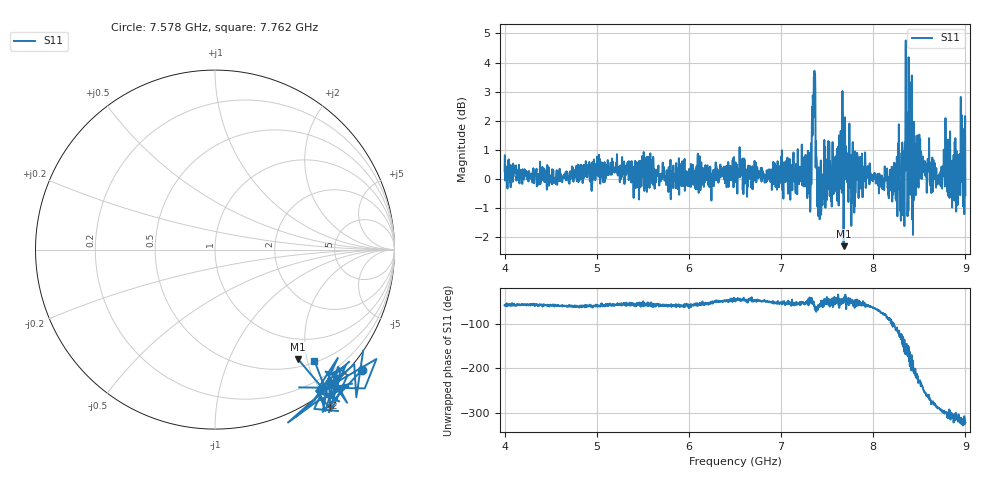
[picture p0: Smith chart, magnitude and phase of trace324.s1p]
! Created with skrf 1.8.0 (http://scikit-rf.org).
# Hz S RI R 50.0
!freq ReS11 ImS11
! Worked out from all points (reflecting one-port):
!   1601 points, 4 GHz to 9 GHz, reference 50 ohm
!   lowest |S11| = -2.3 dB at 7.678 GHz (marker M1), VSWR 7.55, Z = 31.2 - j92.3 ohm
!   phase of S11 starts at -58 deg and turns -265 deg over the sweep
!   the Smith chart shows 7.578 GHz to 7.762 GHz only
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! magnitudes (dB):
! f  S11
! 4 GHz  0.3
! 4.625 GHz  -0.1
! 5.25 GHz  -0.1
! 5.875 GHz  0.2
! 6.5 GHz  0.1
! 7.125 GHz  0.3
! 7.306 GHz  -0.5
! 7.347 GHz  2.6
! 7.359 GHz  2.4
! 7.4 GHz  -0.4
! 7.416 GHz  -0.9
! 7.491 GHz  0.6
! 7.591 GHz  0.8
! 7.678 GHz  -2.3
! 7.75 GHz  -0.3
! 8.181 GHz  0.3
! 8.262 GHz  -1.3
! 8.316 GHz  1.3
! 8.334 GHz  -0.2
! 8.356 GHz  1.1
! 8.375 GHz  -0.3
! 8.447 GHz  1.5
! 8.497 GHz  0.5
! 8.703 GHz  0.1
! 8.841 GHz  0.5
! 8.919 GHz  0.0
! 8.953 GHz  -0.1
! 9 GHz  -0.6
